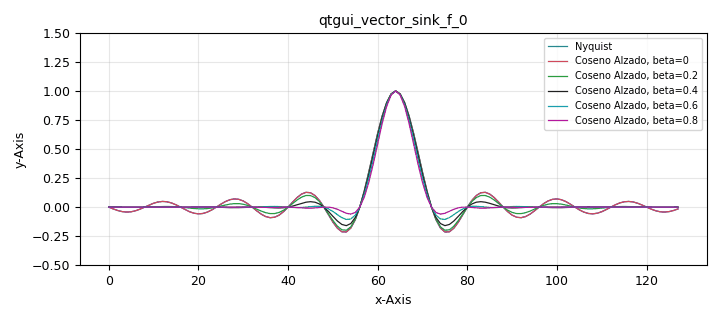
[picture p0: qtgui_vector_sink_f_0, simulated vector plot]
<?xml version='1.0' encoding='utf-8'?>
<?grc format='1' created='3.7.13'?>
<flow_graph>
<block>
<key>options</key>
<param><key>id</key><value>top_block</value></param>
<param><key>generate_options</key><value>qt_gui</value></param>
</block>
<block>
<key>variable</key>
<param><key>id</key><value>Sps</value></param>
<param><key>value</key><value>8</value></param>
</block>
<block>
<key>variable</key>
<param><key>id</key><value>beta</value></param>
<param><key>value</key><value>0.5</value></param>
</block>
<block>
<key>variable</key>
<param><key>id</key><value>ntaps</value></param>
<param><key>value</key><value>128</value></param>
</block>
<block>
<key>variable</key>
<param><key>id</key><value>samp_rate</value></param>
<param><key>value</key><value>32000</value></param>
</block>
<block>
<key>blocks_stream_to_vector</key>
<param><key>id</key><value>blocks_stream_to_vector_0</value></param>
<param><key>type</key><value>float</value></param>
<param><key>num_items</key><value>ntaps</value></param>
</block>
<block>
<key>blocks_stream_to_vector</key>
<param><key>id</key><value>blocks_stream_to_vector_0_0</value></param>
<param><key>type</key><value>float</value></param>
<param><key>num_items</key><value>ntaps</value></param>
</block>
<block>
<key>blocks_stream_to_vector</key>
<param><key>id</key><value>blocks_stream_to_vector_0_1</value></param>
<param><key>type</key><value>float</value></param>
<param><key>num_items</key><value>ntaps</value></param>
</block>
<block>
<key>blocks_stream_to_vector</key>
<param><key>id</key><value>blocks_stream_to_vector_0_1_0</value></param>
<param><key>type</key><value>float</value></param>
<param><key>num_items</key><value>ntaps</value></param>
</block>
<block>
<key>blocks_stream_to_vector</key>
<param><key>id</key><value>blocks_stream_to_vector_0_1_1</value></param>
<param><key>type</key><value>float</value></param>
<param><key>num_items</key><value>ntaps</value></param>
</block>
<block>
<key>blocks_stream_to_vector</key>
<param><key>id</key><value>blocks_stream_to_vector_0_1_2</value></param>
<param><key>type</key><value>float</value></param>
<param><key>num_items</key><value>ntaps</value></param>
</block>
<block>
<key>blocks_vector_source_x</key>
<param><key>id</key><value>blocks_vector_source_x_0</value></param>
<param><key>type</key><value>float</value></param>
<param><key>repeat</key><value>True</value></param>
<param><key>vector</key><value>wform.rcos(Sps,ntaps,0.)</value></param>
</block>
<block>
<key>blocks_vector_source_x</key>
<param><key>id</key><value>blocks_vector_source_x_0_0</value></param>
<param><key>type</key><value>float</value></param>
<param><key>repeat</key><value>True</value></param>
<param><key>vector</key><value>wform.nyq(Sps,ntaps)</value></param>
</block>
<block>
<key>blocks_vector_source_x</key>
<param><key>id</key><value>blocks_vector_source_x_0_1</value></param>
<param><key>type</key><value>float</value></param>
<param><key>repeat</key><value>True</value></param>
<param><key>vector</key><value>wform.rcos(Sps,ntaps,0.2)</value></param>
</block>
<block>
<key>blocks_vector_source_x</key>
<param><key>id</key><value>blocks_vector_source_x_0_1_0</value></param>
<param><key>type</key><value>float</value></param>
<param><key>repeat</key><value>True</value></param>
<param><key>vector</key><value>wform.rcos(Sps,ntaps,0.4)</value></param>
</block>
<block>
<key>blocks_vector_source_x</key>
<param><key>id</key><value>blocks_vector_source_x_0_1_1</value></param>
<param><key>type</key><value>float</value></param>
<param><key>repeat</key><value>True</value></param>
<param><key>vector</key><value>wform.rcos(Sps,ntaps,0.6)</value></param>
</block>
<block>
<key>blocks_vector_source_x</key>
<param><key>id</key><value>blocks_vector_source_x_0_1_2</value></param>
<param><key>type</key><value>float</value></param>
<param><key>repeat</key><value>True</value></param>
<param><key>vector</key><value>wform.rcos(Sps,ntaps,0.8)</value></param>
</block>
<block>
<key>qtgui_vector_sink_f</key>
<param><key>id</key><value>qtgui_vector_sink_f_0</value></param>
<param><key>label1</key><value>"Nyquist"</value></param>
<param><key>width1</key><value>6</value></param>
<param><key>label2</key><value>"Coseno Alzado, beta=0"</value></param>
<param><key>width2</key><value>6</value></param>
<param><key>label3</key><value>"Coseno Alzado, beta=0.2"</value></param>
<param><key>width3</key><value>6</value></param>
<param><key>label4</key><value>"Coseno Alzado, beta=0.4"</value></param>
<param><key>width4</key><value>6</value></param>
<param><key>label5</key><value>"Coseno Alzado, beta=0.6"</value></param>
<param><key>width5</key><value>6</value></param>
<param><key>label6</key><value>"Coseno Alzado, beta=0.8"</value></param>
<param><key>width6</key><value>6</value></param>
<param><key>nconnections</key><value>6</value></param>
<param><key>showports</key><value>True</value></param>
<param><key>vlen</key><value>ntaps</value></param>
<param><key>x_start</key><value>0</value></param>
<param><key>x_step</key><value>1.0</value></param>
<param><key>ymax</key><value>1.5</value></param>
<param><key>ymin</key><value>-0.5</value></param>
</block>
<block>
<key>epy_module</key>
<param><key>id</key><value>wform</value></param>
<param><key>source_code</key><value>import math
import numpy
#######################################################
##        Hecho por Homero Ortega Boada              ##
##        comdiguis@saber.uis.edu.co                 ##
##     Universidad Industrial de Santander           ##
#######################################################

#######################################################
##               Forma rectangular                   ##
#######################################################                       
def rect(Sps):
    return Sps*[1.,]

#######################################################
##               Forma de Nyquist                    ##
#######################################################                       
def nyq(Sps,ntaps):
    n=numpy.linspace(-int(ntaps/2), int(ntaps/2-1),ntaps)
    h=numpy.sinc(n/Sps)
#    return h/numpy.amax(h)
    return h
#######################################################
##               Forma Coseno Alzado                 ##
#######################################################                       
def rcos(Sps,ntaps,beta):
    if beta==0:
        h=nyq(Sps,ntaps)
    else:
        h=ntaps*[0,]
        for n in range(ntaps):
            k=n-ntaps/2. # esto es para que h[n] quede centrada en la mitad del vector
            if abs(k)==Sps/(2.*beta):
                h[n]=numpy.sinc(1./(2.*beta))*math.pi/4.
            else:
                h[n]=numpy.sinc(k/Sps)*math.cos(beta*k*math.pi/Sps)/(1.-(2.*beta*k/Sps)**2)                
    Amp=numpy.amax(h)
    return h/Amp
#######################################################
##            Forma Raiz de Coseno Alzado            ##
#######################################################                       

def rrcos(Sps,ntaps,beta):
    if beta==0:
        h=nyq(Sps,ntaps)
    else:
        h=ntaps*[0,]
        beta4=4.*beta
        for n in range(ntaps):
            k=n-ntaps/2. # esto es para que h[n] quede centrada en la mitad del vector
            if k==0:
                h[n]=1+beta*(4./math.pi-1.)
            elif abs(k)==Sps/beta4:
                ha=(1.+2./math.pi)*math.sin(math.pi/beta4)
                hb=(1.-2./math.pi)*math.cos(math.pi/beta4)
                h[n]=(ha+hb)*beta/math.sqrt(2.)
            else:
                ks=k/Sps
                kspi=math.pi*ks
                Num=math.sin(kspi*(1-beta))+beta4*ks*math.cos(kspi*(1+beta))
                Den=kspi*(1.-(beta4*ks)**2)
                h[n]=Num/Den                
    Amp=numpy.amax(h)
    return h/Amp
</value></param>
</block>
<connection><source_block_id>blocks_stream_to_vector_0</source_block_id><sink_block_id>qtgui_vector_sink_f_0</sink_block_id><source_key>0</source_key><sink_key>1</sink_key></connection>
<connection><source_block_id>blocks_stream_to_vector_0_0</source_block_id><sink_block_id>qtgui_vector_sink_f_0</sink_block_id><source_key>0</source_key><sink_key>0</sink_key></connection>
<connection><source_block_id>blocks_stream_to_vector_0_1</source_block_id><sink_block_id>qtgui_vector_sink_f_0</sink_block_id><source_key>0</source_key><sink_key>2</sink_key></connection>
<connection><source_block_id>blocks_stream_to_vector_0_1_0</source_block_id><sink_block_id>qtgui_vector_sink_f_0</sink_block_id><source_key>0</source_key><sink_key>3</sink_key></connection>
<connection><source_block_id>blocks_stream_to_vector_0_1_1</source_block_id><sink_block_id>qtgui_vector_sink_f_0</sink_block_id><source_key>0</source_key><sink_key>4</sink_key></connection>
<connection><source_block_id>blocks_stream_to_vector_0_1_2</source_block_id><sink_block_id>qtgui_vector_sink_f_0</sink_block_id><source_key>0</source_key><sink_key>5</sink_key></connection>
<connection><source_block_id>blocks_vector_source_x_0</source_block_id><sink_block_id>blocks_stream_to_vector_0</sink_block_id><source_key>0</source_key><sink_key>0</sink_key></connection>
<connection><source_block_id>blocks_vector_source_x_0_0</source_block_id><sink_block_id>blocks_stream_to_vector_0_0</sink_block_id><source_key>0</source_key><sink_key>0</sink_key></connection>
<connection><source_block_id>blocks_vector_source_x_0_1</source_block_id><sink_block_id>blocks_stream_to_vector_0_1</sink_block_id><source_key>0</source_key><sink_key>0</sink_key></connection>
<connection><source_block_id>blocks_vector_source_x_0_1_0</source_block_id><sink_block_id>blocks_stream_to_vector_0_1_0</sink_block_id><source_key>0</source_key><sink_key>0</sink_key></connection>
<connection><source_block_id>blocks_vector_source_x_0_1_1</source_block_id><sink_block_id>blocks_stream_to_vector_0_1_1</sink_block_id><source_key>0</source_key><sink_key>0</sink_key></connection>
<connection><source_block_id>blocks_vector_source_x_0_1_2</source_block_id><sink_block_id>blocks_stream_to_vector_0_1_2</sink_block_id><source_key>0</source_key><sink_key>0</sink_key></connection>
</flow_graph>
